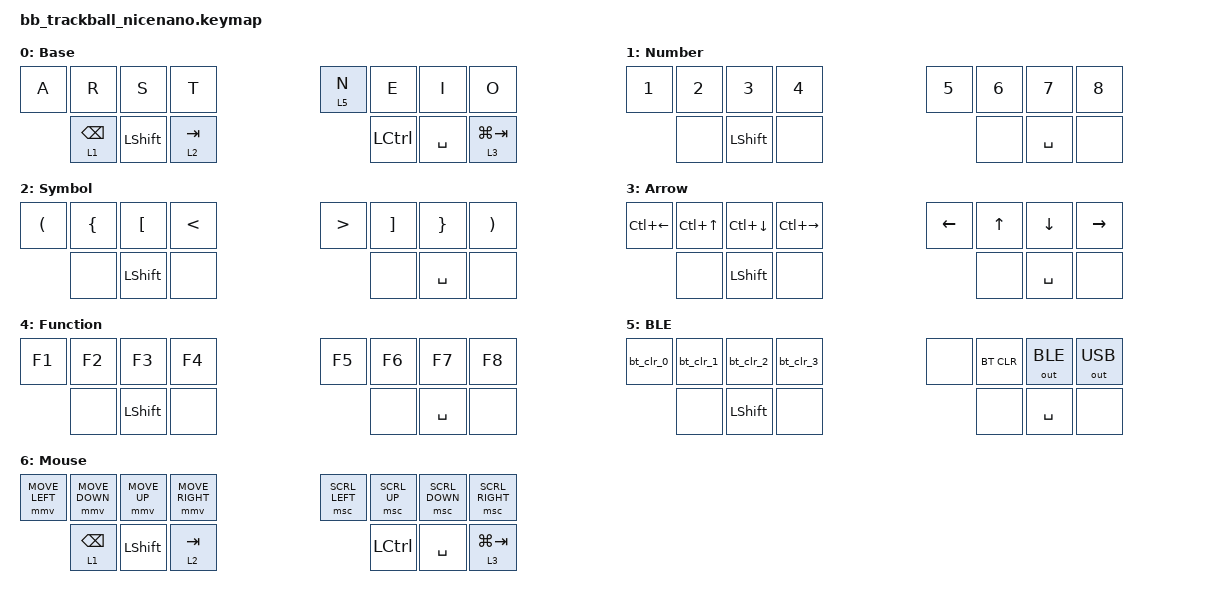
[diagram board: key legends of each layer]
/*
 * Copyright (c) 2020 The ZMK Contributors
 *
 * SPDX-License-Identifier: MIT
 */
#include <behaviors.dtsi>
#include <dt-bindings/zmk/keys.h>
#include <dt-bindings/zmk/bt.h>
#include <dt-bindings/zmk/outputs.h>
//#include <dt-bindings/zmk/pointing.h>
#include <dt-bindings/zmk/mouse.h>
#include <dt-bindings/zmk/input_transform.h>

#if !defined TIMEOUT_COMBO_2
#define TIMEOUT_COMBO_2 75
#endif
#if !defined TIMEOUT_COMBO_3
#define TIMEOUT_COMBO_3 175
#endif
#if !defined TIMEOUT_COMBO_4
#define TIMEOUT_COMBO_4 175
#endif
#if !defined TIMEOUT_LAYER_HOLD
#define TIMEOUT_LAYER_HOLD 200
#endif
#if !defined TIMEOUT_STICKY_LEADER_KEY
#define TIMEOUT_STICKY_LEADER_KEY 5000
#endif

#define KEY_A 0
#define KEY_R 1
#define KEY_S 2
#define KEY_T 3

#define KEY_LT1 8
#define KEY_LT2 9
#define KEY_LT3 10

#define KEY_N 4
#define KEY_E 5
#define KEY_I 6
#define KEY_O 7

#define KEY_RT1 11
#define KEY_RT2 12
#define KEY_RT3 13

#define BASE_LAYER_ID 0
#define NUMBER_LAYER_ID 1
#define SYMBOL_LAYER_ID 2
#define ARROW_LAYER_ID 3
#define FUNCTION_LAYER_ID 4
#define BLUETOOTH_LAYER 5
#define MOUSE_LAYER_ID 6

/ {
    macros {
	bt_clr_0: bt_clr_0 {
            compatible = "zmk,behavior-macro";
            #binding-cells = <0>;
            bindings = <&bt BT_SEL 0 &out OUT_BLE>;
        };
        bt_clr_1: bt_clr_1 {
            compatible = "zmk,behavior-macro";
            #binding-cells = <0>;
            bindings = <&bt BT_SEL 1 &out OUT_BLE>;
        };
        bt_clr_2: bt_clr_2 {
            compatible = "zmk,behavior-macro";
            #binding-cells = <0>;
            bindings = <&bt BT_SEL 2 &out OUT_BLE>;
        };
        bt_clr_3: bt_clr_3 {
            compatible = "zmk,behavior-macro";
            #binding-cells = <0>;
            bindings = <&bt BT_SEL 3 &out OUT_BLE>;
        };
    };
};

/ {
        combos {
                compatible = "zmk,combos";
                /*****************************************
                * 2 key combos
                *****************************************/
                combo_function_layer    { layers = <BASE_LAYER_ID>; timeout-ms = <TIMEOUT_COMBO_2>; key-positions = <KEY_LT2 KEY_LT3>; bindings = <&mo FUNCTION_LAYER_ID>; };
                combo_mouse_layer       { layers = <BASE_LAYER_ID>; timeout-ms = <TIMEOUT_COMBO_2>; key-positions = <KEY_LT2 KEY_RT2>; bindings = <&mo MOUSE_LAYER_ID>; };
                combo_enter             { layers = <BASE_LAYER_ID>; timeout-ms = <TIMEOUT_COMBO_2>; key-positions = <KEY_LT1 KEY_LT2>; bindings = <&kp ENTER>; };

                combo_zero              { layers = <NUMBER_LAYER_ID>; timeout-ms = <TIMEOUT_COMBO_2>; key-positions = <KEY_A KEY_R>; bindings = <&kp N0>; };
                combo_nine              { layers = <NUMBER_LAYER_ID>; timeout-ms = <TIMEOUT_COMBO_2>; key-positions = <KEY_I KEY_O>; bindings = <&kp N9>; };
                combo_num_comma         { layers = <NUMBER_LAYER_ID>; timeout-ms = <TIMEOUT_COMBO_2>; key-positions = <KEY_N KEY_E>; bindings = <&kp COMMA>; };
                combo_num_period        { layers = <NUMBER_LAYER_ID>; timeout-ms = <TIMEOUT_COMBO_2>; key-positions = <KEY_S KEY_T>; bindings = <&kp PERIOD>; };

                combo_f9                { layers = <FUNCTION_LAYER_ID>; timeout-ms = <TIMEOUT_COMBO_2>; key-positions = <KEY_A KEY_R>; bindings = <&kp F9>; };
                combo_f10               { layers = <FUNCTION_LAYER_ID>; timeout-ms = <TIMEOUT_COMBO_2>; key-positions = <KEY_S KEY_T>; bindings = <&kp F10>; };
                combo_f11               { layers = <FUNCTION_LAYER_ID>; timeout-ms = <TIMEOUT_COMBO_2>; key-positions = <KEY_N KEY_E>; bindings = <&kp F11>; };
                combo_f12               { layers = <FUNCTION_LAYER_ID>; timeout-ms = <TIMEOUT_COMBO_2>; key-positions = <KEY_I KEY_O>; bindings = <&kp F12>; };

                combo_at                { layers = <SYMBOL_LAYER_ID>; timeout-ms = <TIMEOUT_COMBO_2>; key-positions = <KEY_A KEY_R>; bindings = <&kp AT>; };
                combo_hash              { layers = <SYMBOL_LAYER_ID>; timeout-ms = <TIMEOUT_COMBO_2>; key-positions = <KEY_R KEY_S>; bindings = <&kp HASH>; };
                combo_dash              { layers = <SYMBOL_LAYER_ID>; timeout-ms = <TIMEOUT_COMBO_2>; key-positions = <KEY_S KEY_T>; bindings = <&kp MINUS>; };
                combo_under_score       { layers = <SYMBOL_LAYER_ID>; timeout-ms = <TIMEOUT_COMBO_2>; key-positions = <KEY_N KEY_E>; bindings = <&kp UNDERSCORE>; };
                combo_plus              { layers = <SYMBOL_LAYER_ID>; timeout-ms = <TIMEOUT_COMBO_2>; key-positions = <KEY_E KEY_I>; bindings = <&kp PLUS>; };
                combo_equal             { layers = <SYMBOL_LAYER_ID>; timeout-ms = <TIMEOUT_COMBO_2>; key-positions = <KEY_I KEY_O>; bindings = <&kp EQUAL>; };
                combo_dollar            { layers = <SYMBOL_LAYER_ID>; timeout-ms = <TIMEOUT_COMBO_2>; key-positions = <KEY_N KEY_T>; bindings = <&kp DOLLAR>; };
                combo_percent           { layers = <SYMBOL_LAYER_ID>; timeout-ms = <TIMEOUT_COMBO_2>; key-positions = <KEY_T KEY_E>; bindings = <&kp PERCENT>; };
                combo_asterisk          { layers = <SYMBOL_LAYER_ID>; timeout-ms = <TIMEOUT_COMBO_2>; key-positions = <KEY_T KEY_I>; bindings = <&kp STAR>; };
                combo_ampersand         { layers = <SYMBOL_LAYER_ID>; timeout-ms = <TIMEOUT_COMBO_2>; key-positions = <KEY_T KEY_O>; bindings = <&kp AMPERSAND>; };

                combo_left_click        { layers = <MOUSE_LAYER_ID>; timeout-ms = <TIMEOUT_COMBO_2>; key-positions = <KEY_S KEY_T>; bindings = <&mkp LCLK>; };
                combo_right_click       { layers = <MOUSE_LAYER_ID>; timeout-ms = <TIMEOUT_COMBO_2>; key-positions = <KEY_N KEY_E>; bindings = <&mkp RCLK>; };

                /*****************************************
                * 3 key combos
                *****************************************/
                combo_forward_slash    { layers = <SYMBOL_LAYER_ID>; timeout-ms = <TIMEOUT_COMBO_3>; key-positions = <KEY_R KEY_S KEY_T>; bindings = <&kp SLASH>; };
                combo_backslash        { layers = <SYMBOL_LAYER_ID>; timeout-ms = <TIMEOUT_COMBO_3>; key-positions = <KEY_N KEY_E KEY_I>; bindings = <&kp BACKSLASH>; };
                combo_pipe             { layers = <SYMBOL_LAYER_ID>; timeout-ms = <TIMEOUT_COMBO_3>; key-positions = <KEY_S KEY_T KEY_N>; bindings = <&kp PIPE>; };
                combo_caret            { layers = <SYMBOL_LAYER_ID>; timeout-ms = <TIMEOUT_COMBO_3>; key-positions = <KEY_S KEY_T KEY_E>; bindings = <&kp CARET>; };

                /*****************************************
                * 4 key combos
                *****************************************/
                //combo_view_windows    { layers = <BASE_LAYER_ID>; timeout-ms = <TIMEOUT_COMBO_4>; key-positions = <KEY_N KEY_E KEY_I KEY_O KEY_RT3>; bindings = <&kp LG(TAB)>; };

                combo_grave           { layers = <SYMBOL_LAYER_ID>; timeout-ms = <TIMEOUT_COMBO_4>; key-positions = <KEY_A KEY_R KEY_S KEY_T>; bindings = <&kp GRAVE>; };
                combo_tilde           { layers = <SYMBOL_LAYER_ID>; timeout-ms = <TIMEOUT_COMBO_4>; key-positions = <KEY_N KEY_E KEY_I KEY_O>; bindings = <&kp TILDE>; };

                /*****************************************
                * Base Layer Combos
                *****************************************/
                combo_b           { layers = <BASE_LAYER_ID>; timeout-ms = <TIMEOUT_COMBO_2>; key-positions = <KEY_T KEY_N>; bindings = <&kp B>; };
                combo_m           { layers = <BASE_LAYER_ID>; timeout-ms = <TIMEOUT_COMBO_2>; key-positions = <KEY_S KEY_N>; bindings = <&kp M>; };
                combo_c           { layers = <BASE_LAYER_ID>; timeout-ms = <TIMEOUT_COMBO_2>; key-positions = <KEY_R KEY_T>; bindings = <&kp C>; };
                combo_p           { layers = <BASE_LAYER_ID>; timeout-ms = <TIMEOUT_COMBO_2>; key-positions = <KEY_A KEY_T>; bindings = <&kp P>; };
                combo_d           { layers = <BASE_LAYER_ID>; timeout-ms = <TIMEOUT_COMBO_2>; key-positions = <KEY_S KEY_T>; bindings = <&kp D>; };
                combo_q           { layers = <BASE_LAYER_ID>; timeout-ms = <TIMEOUT_COMBO_2>; key-positions = <KEY_A KEY_E>; bindings = <&kp Q>; };
                combo_f           { layers = <BASE_LAYER_ID>; timeout-ms = <TIMEOUT_COMBO_2>; key-positions = <KEY_R KEY_S>; bindings = <&kp F>; };
                combo_u           { layers = <BASE_LAYER_ID>; timeout-ms = <TIMEOUT_COMBO_2>; key-positions = <KEY_E KEY_I>; bindings = <&kp U>; };
                combo_g           { layers = <BASE_LAYER_ID>; timeout-ms = <TIMEOUT_COMBO_2>; key-positions = <KEY_T KEY_I>; bindings = <&kp G>; };
                combo_v           { layers = <BASE_LAYER_ID>; timeout-ms = <TIMEOUT_COMBO_2>; key-positions = <KEY_T KEY_E>; bindings = <&kp V>; };
                combo_h           { layers = <BASE_LAYER_ID>; timeout-ms = <TIMEOUT_COMBO_2>; key-positions = <KEY_N KEY_E>; bindings = <&kp H>; };
                combo_w           { layers = <BASE_LAYER_ID>; timeout-ms = <TIMEOUT_COMBO_2>; key-positions = <KEY_A KEY_R>; bindings = <&kp W>; };
                combo_j           { layers = <BASE_LAYER_ID>; timeout-ms = <TIMEOUT_COMBO_2>; key-positions = <KEY_A KEY_N>; bindings = <&kp J>; };
                combo_x           { layers = <BASE_LAYER_ID>; timeout-ms = <TIMEOUT_COMBO_2>; key-positions = <KEY_A KEY_S>; bindings = <&kp X>; };
                combo_k           { layers = <BASE_LAYER_ID>; timeout-ms = <TIMEOUT_COMBO_2>; key-positions = <KEY_R KEY_N>; bindings = <&kp K>; };
                combo_y           { layers = <BASE_LAYER_ID>; timeout-ms = <TIMEOUT_COMBO_2>; key-positions = <KEY_N KEY_I>; bindings = <&kp Y>; };
                combo_l           { layers = <BASE_LAYER_ID>; timeout-ms = <TIMEOUT_COMBO_2>; key-positions = <KEY_N KEY_O>; bindings = <&kp L>; };
                combo_z           { layers = <BASE_LAYER_ID>; timeout-ms = <TIMEOUT_COMBO_2>; key-positions = <KEY_R KEY_E>; bindings = <&kp Z>; };
                combo_period      { layers = <BASE_LAYER_ID>; timeout-ms = <TIMEOUT_COMBO_2>; key-positions = <KEY_R KEY_I>; bindings = <&kp PERIOD>; };
                combo_comma       { layers = <BASE_LAYER_ID>; timeout-ms = <TIMEOUT_COMBO_2>; key-positions = <KEY_S KEY_E>; bindings = <&kp COMMA>; };
                combo_d_quote     { layers = <BASE_LAYER_ID>; timeout-ms = <TIMEOUT_COMBO_2>; key-positions = <KEY_S KEY_O>; bindings = <&kp DQT>; };
                combo_quote       { layers = <BASE_LAYER_ID>; timeout-ms = <TIMEOUT_COMBO_2>; key-positions = <KEY_S KEY_I>; bindings = <&kp SQT>; };
                combo_colon       { layers = <BASE_LAYER_ID>; timeout-ms = <TIMEOUT_COMBO_2>; key-positions = <KEY_A KEY_O>; bindings = <&kp COLON>; };
                combo_semi_colon  { layers = <BASE_LAYER_ID>; timeout-ms = <TIMEOUT_COMBO_2>; key-positions = <KEY_A KEY_I>; bindings = <&kp SEMICOLON>; };
                combo_alt_tab     { layers = <BASE_LAYER_ID>; timeout-ms = <TIMEOUT_COMBO_2>; key-positions = <KEY_LT1 KEY_RT3>; bindings = <&kp LA(TAB)>; };

                combo_exclamation { layers = <BASE_LAYER_ID>; timeout-ms = <TIMEOUT_COMBO_3>; key-positions = <KEY_S KEY_T KEY_N>; bindings = <&kp EXCLAMATION>; };
                combo_question    { layers = <BASE_LAYER_ID>; timeout-ms = <TIMEOUT_COMBO_3>; key-positions = <KEY_S KEY_T KEY_E>; bindings = <&kp QUESTION>; };

                combo_esc         { layers = <BASE_LAYER_ID>; timeout-ms = <TIMEOUT_COMBO_4>; key-positions = <KEY_A KEY_R KEY_S KEY_T>; bindings = <&kp ESC>; };
                combo_windows_key { layers = <BASE_LAYER_ID>; timeout-ms = <TIMEOUT_COMBO_4>; key-positions = <KEY_N KEY_E KEY_I KEY_O>; bindings = <&kp LWIN>; };

                combo_windows_d   { layers = <BASE_LAYER_ID>; timeout-ms = <TIMEOUT_COMBO_4>; key-positions = <KEY_N KEY_E KEY_I KEY_O KEY_S KEY_T>; bindings = <&kp LG(D)>; };

        };
};

/ {
        keymap {
                compatible = "zmk,keymap";
                base {
                        display-name = "Base";
                        bindings = <
                        &kp A   &kp R   &kp S   &kp T                          &lt 5 N     &kp E      &kp I    &kp O
                                &lt 1 BACKSPACE   &kp LSHIFT  &lt  2  TAB                 &kp LCTRL &kp SPACE  &lt 3 LG(TAB) 
                                >;
                };
                number_layer {
                        display-name = "Number";
                        bindings = <
                        &kp N1 &kp N2 &kp N3 &kp N4              &kp N5 &kp N6  &kp N7  &kp N8
                                &none &kp LSHIFT &none          &none &kp SPACE  &none
                                >;
                };
                symbol_layer {
                        display-name = "Symbol";
                                bindings = <
                          &kp LPAR &kp LBRC &kp LBKT &kp LT          &kp GT  &kp RBKT &kp RBRC  &kp RPAR  
                                &none &kp LSHIFT &none          &none &kp SPACE  &none
                                >;
                };
                arrow_layer {
                        display-name = "Arrow";
                                bindings = <
                        &kp LC(LEFT) &kp LC(UP) &kp LC(DOWN) &kp LC(RIGHT)              &kp LEFT &kp UP  &kp DOWN  &kp RIGHT
                                &none &kp LSHIFT &none          &none &kp SPACE  &none
                                >;
                };
                function_layer {
                        display-name = "Function";
                                bindings = <
                        &kp F1 &kp F2 &kp F3 &kp F4              &kp F5 &kp F6  &kp F7  &kp F8
                                &none &kp LSHIFT &none          &none &kp SPACE  &none
                                >;
                };
                bluetooth_layer {
                        display-name = "BLE";
                                bindings = <
                        &bt_clr_0 &bt_clr_1 &bt_clr_2 &bt_clr_3              &none &bt BT_CLR  &out OUT_BLE  &out OUT_USB
                        &none &kp LSHIFT &none          &none &kp SPACE  &none
                                >;
                };
                mouse_layer {
                        display-name = "Mouse";
                        bindings = <
                        &mmv MOVE_LEFT   &mmv MOVE_DOWN   &mmv MOVE_UP   &mmv MOVE_RIGHT                          &msc SCRL_LEFT     &msc SCRL_UP      &msc SCRL_DOWN    &msc SCRL_RIGHT
                                &lt 1 BACKSPACE   &kp LSHIFT  &lt  2  TAB                 &kp LCTRL &kp SPACE  &lt 3 LG(TAB) 
                                >;
                };
        };
};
